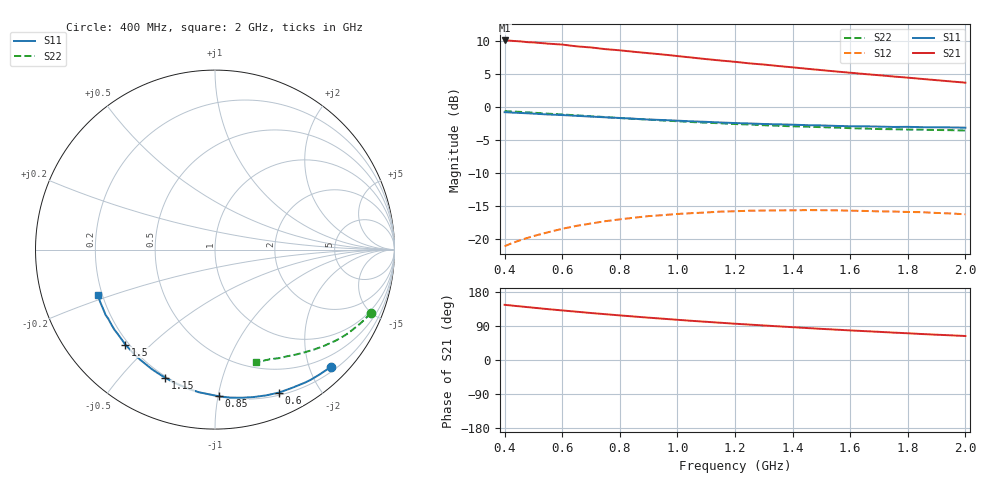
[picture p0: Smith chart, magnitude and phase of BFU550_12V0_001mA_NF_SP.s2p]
! Filename:  P:\Prog\Test\Noise\ATS_data\Testdata_Net\06 Compressed Noise after Statistics\BFU550_APG2013_43_D05_12p0V_001mA_NF_CM01_D.sf
! Date/Time: Fri 26/Apr/2013 13:07:24
! BFU550_APG2013_43_D05_12p0V_1to35mA_NF_CM01_Bias1_R.sf
! Noise Parameter Data File
! BFU550_APG2013_43_D05_12p0V_1to35mA_NF_CM01
! Date/time: Thu Apr 25 18:42:45 2013
! freq range =  0.4000 to  2.0000 GHz, 37 points
! bias range =  0.9950 to 34.9950 mA, 8 points
! bias supplies used: 1 1 0 0 0 0
! VAR bias_mode= 1  ! Specify V_out, I_out
! VAR bias_var = 1  ! Bias variable = I_out
! VAR V_out= 12.001000
! VAR I_out= 0.995000
! VAR V_in= 0.773400
! VAR I_in= 0.008200
! Device data file deembeded for feedlines and parallel
! Original file: \06 Compressed Noise after Statistics\BFU550_APG2013_43_D05_12p0V_001mA_NF_CM01_R.sf
! Feed-files: PR047V01_250413_Feed1.s2p, PR047V01_250413_Feed2.s2p
! Parallel-file: PR047V01_250413_Par.s2p
# MHz S MA R 50
!  Freq-MHz  S11-mag  S11-arg  S21-mag  S21-arg  S12-mag  S12-arg  S22-mag  S22-arg
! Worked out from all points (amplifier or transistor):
!   37 points, 400 MHz to 2 GHz, reference 50 ohm
!   highest |S21| = 10.1 dB at 400 MHz (marker M1)
!   |S21| within 3 dB of that: start of sweep to 1.139 GHz
!   unconditionally stable (mu >= 1): nowhere
!   at 500 MHz: K = 0.14, MSG = 14.7 dB, |S12| = -19.6 dB
!   at 1.1 GHz: K = 0.28, MSG = 11.7 dB, |S12| = -16.0 dB
!   at 2 GHz: K = 0.53, MSG = 10.0 dB, |S12| = -16.3 dB
!   lowest NFmin = 0.45 dB at 1.8 GHz
!   S11 on the Smith chart (normalised r, x): 400 MHz: 0.29, -2.36; 600 MHz: 0.23, -1.52; 850 MHz: 0.20, -1.01; 1.15 GHz: 0.19, -0.67; 1.5 GHz: 0.19, -0.42; 2 GHz: 0.18, -0.18
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400  0.9171 -45.4  3.217 145.6  0.08805 61.1  0.9351 -22.1
420  0.9127 -47.6  3.206 144.1  0.09175 59.8  0.9301 -23.1
440  0.9082 -49.7  3.181 142.5  0.09524 58.5  0.9256 -24.0
480  0.8999 -53.8  3.121 139.5  0.1019 56.0  0.9144 -25.9
500  0.8947 -55.9  3.109 138.0  0.105 54.8  0.9091 -26.9
550  0.8814 -61.1  3.044 134.3  0.1122 51.8  0.894 -29.1
600  0.8725 -65.9  2.993 130.8  0.1192 49.0  0.881 -31.2
650  0.861 -70.6  2.901 127.4  0.1257 46.3  0.8686 -33.2
700  0.8492 -75.4  2.846 124.0  0.1309 43.5  0.8544 -35.3
750  0.8387 -79.7  2.763 120.8  0.1363 41.1  0.8421 -37.1
800  0.8288 -84.1  2.708 117.7  0.1407 38.7  0.828 -38.9
850  0.8178 -88.4  2.636 114.7  0.1448 36.3  0.8162 -40.5
950  0.7998 -96.5  2.516 108.9  0.1516 31.9  0.7924 -43.9
1050  0.7813 -104.1  2.385 103.3  0.1568 27.8  0.7721 -47.0
1150  0.766 -111.2  2.264 98.3  0.1612 24.1  0.7555 -49.6
1200  0.7586 -114.8  2.214 95.7  0.1621 22.2  0.7454 -51.1
1350  0.7417 -124.3  2.057 88.8  0.1646 17.4  0.7229 -55.0
1500  0.7277 -133.4  1.915 82.2  0.1652 12.9  0.7058 -58.7
1600  0.7174 -139.1  1.829 78.0  0.1638 10.2  0.6936 -61.1
1750  0.7086 -146.9  1.712 72.3  0.1614 6.6  0.681 -64.3
1850  0.7057 -151.9  1.641 68.5  0.1595 4.5  0.676 -66.5
2000  0.6997 -158.7  1.538 63.3  0.1537 1.6  0.6653 -69.8
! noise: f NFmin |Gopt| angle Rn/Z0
400  0.5647  0.652  28.55  0.3347
460  0.5799  0.6441  35.56  0.3296
600  0.6349  0.6603  43.43  0.3044
800  0.7287  0.6604  59.53  0.297
1000  0.8016  0.6526  74.83  0.2722
1200  0.9066  0.6355  86.84  0.2587
1400  0.9121  0.6178  103.4  0.1937
1600  0.8817  0.6062  117  0.1454
1800  0.4509  0.648  130.9  0.0676
2000  1.159  0.7065  139.2  0.101
